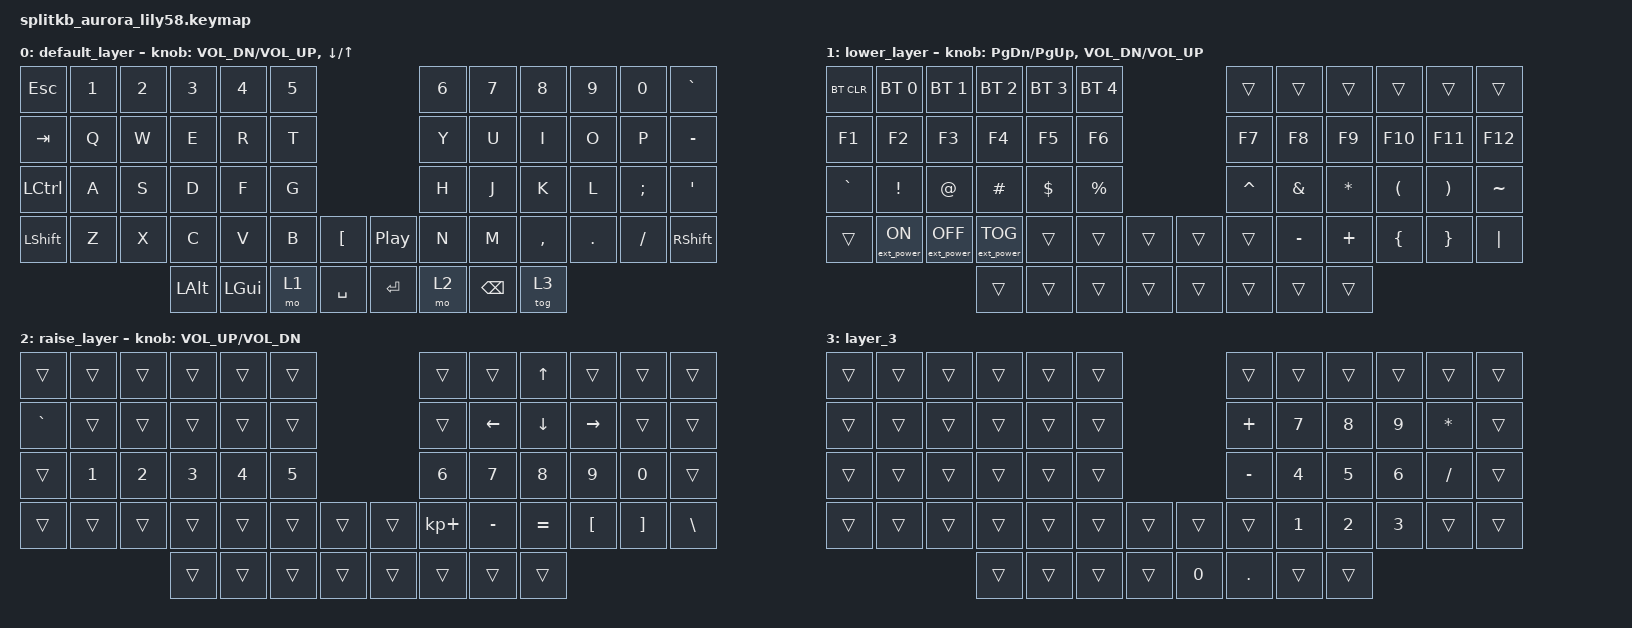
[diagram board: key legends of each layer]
/*
 * Copyright (c) 2022 The ZMK Contributors
 *
 * SPDX-License-Identifier: MIT
 */

#include <behaviors.dtsi>
#include <dt-bindings/zmk/bt.h>
#include <dt-bindings/zmk/ext_power.h>
#include <dt-bindings/zmk/keys.h>

/ {
    keymap {
        compatible = "zmk,keymap";

        default_layer {
            // ------------------------------------------------------------------------------------------------------------
            // |  ESC  |  1  |  2  |  3   |  4   |  5   |                   |  6   |  7    |  8    |  9   |   0   |   `   |
            // |  TAB  |  Q  |  W  |  E   |  R   |  T   |                   |  Y   |  U    |  I    |  O   |   P   |   -   |
            // |  CTRL |  A  |  S  |  D   |  F   |  G   |                   |  H   |  J    |  K    |  L   |   ;   |   '   |
            // | SHIFT |  Z  |  X  |  C   |  V   |  B   |   "["  |  |  "]"  |  N   |  M    |  ,    |  .   |   /   | SHIFT |
            //                     | ALT  | GUI  | LOWER|  SPACE |  | ENTER | RAISE| BSPC  | GUI   |

            bindings = <
  &kp ESC  &kp N1  &kp N2    &kp N3    &kp N4  &kp N5                               &kp N6    &kp N7     &kp N8   &kp N9    &kp N0  &kp GRAVE
  &kp TAB   &kp Q   &kp W     &kp E     &kp R   &kp T                                &kp Y     &kp U      &kp I    &kp O     &kp P  &kp MINUS
&kp LCTRL   &kp A   &kp S     &kp D     &kp F   &kp G                                &kp H     &kp J      &kp K    &kp L  &kp SEMI    &kp SQT
&kp LSHFT   &kp Z   &kp X     &kp C     &kp V   &kp B   &kp LBKT  &kp C_PLAY_PAUSE   &kp N     &kp M  &kp COMMA  &kp DOT  &kp FSLH  &kp RSHFT
                           &kp LALT  &kp LGUI   &mo 1  &kp SPACE           &kp RET   &mo 2  &kp BSPC     &tog 3
            >;

            sensor-bindings =
                <&inc_dec_kp C_VOL_DN C_VOL_UP>,
                <&inc_dec_kp DOWN UP_ARROW>;
        };

        lower_layer {
            // ------------------------------------------------------------------------------------------------------------
            // | BTCLR | BT1 | BT2 |  BT3 |  BT4 |  BT5 |                   |      |       |       |      |       |       |
            // |  F1   |  F2 |  F3 |  F4  |  F5  |  F6  |                   |  F7  |  F8   |  F9   |  F10 |  F11  |  F12  |
            // |   `   |  !  |  @  |  #   |  $   |  %   |                   |  ^   |  &    |  *    |  (   |   )   |   ~   |
            // |       |     |     |      |      |      |        |  |       |      |  _    |  +    |  {   |   }   |  "|"  |
            //                     |      |      |      |        |  |       |      |       |       |

            bindings = <
&bt BT_CLR      &bt BT_SEL 0       &bt BT_SEL 1       &bt BT_SEL 2  &bt BT_SEL 3  &bt BT_SEL 4                     &trans     &trans    &trans    &trans    &trans     &trans
    &kp F1            &kp F2             &kp F3             &kp F4        &kp F5        &kp F6                     &kp F7     &kp F8    &kp F9   &kp F10   &kp F11    &kp F12
 &kp GRAVE          &kp EXCL             &kp AT           &kp HASH    &kp DOLLAR     &kp PRCNT                  &kp CARET   &kp AMPS  &kp STAR  &kp LPAR  &kp RPAR  &kp TILDE
    &trans  &ext_power EP_ON  &ext_power EP_OFF  &ext_power EP_TOG        &trans        &trans  &trans  &trans     &trans  &kp MINUS  &kp PLUS  &kp LBRC  &kp RBRC   &kp PIPE
                                                            &trans        &trans        &trans  &trans  &trans     &trans     &trans    &trans
            >;

            sensor-bindings =
                <&inc_dec_kp PAGE_DOWN PAGE_UP>,
                <&inc_dec_kp C_VOL_DN C_VOL_UP>;
        };

        raise_layer {
            // ------------------------------------------------------------------------------------------------------------
            // |       |     |     |      |      |      |                   |      |       |       |      |       |       |
            // |   `   |  1  |  2  |  3   |  4   |  5   |                   |  6   |   7   |   8   |  9   |   0   |       |
            // |   F1  |  F2 |  F3 |  F4  |  F5  |  F6  |                   |      |   <-  |   v   |  ^   |  ->   |       |
            // |   F7  |  F8 |  F9 |  F10 |  F11 |  F12 |        |  |       |  +   |   -   |   =   |  [   |   ]   |   \   |
            //                     |      |      |      |        |  |       |      |       |       |

            bindings = <
   &trans  &trans  &trans  &trans  &trans  &trans                       &trans          &trans    &kp UP_ARROW           &trans    &trans    &trans
&kp GRAVE  &trans  &trans  &trans  &trans  &trans                       &trans  &kp LEFT_ARROW  &kp DOWN_ARROW  &kp RIGHT_ARROW    &trans    &trans
   &trans  &kp N1  &kp N2  &kp N3  &kp N4  &kp N5                       &kp N6          &kp N7          &kp N8           &kp N9    &kp N0    &trans
   &trans  &trans  &trans  &trans  &trans  &trans  &trans  &trans  &kp KP_PLUS       &kp MINUS       &kp EQUAL         &kp LBKT  &kp RBKT  &kp BSLH
                           &trans  &trans  &trans  &trans  &trans       &trans          &trans          &trans
            >;

            sensor-bindings = <&inc_dec_kp C_VOL_UP C_VOL_DN>;
        };

        layer_3 {
            bindings = <
&trans  &trans  &trans  &trans  &trans  &trans                      &trans  &trans  &trans  &trans        &trans  &trans
&trans  &trans  &trans  &trans  &trans  &trans                    &kp PLUS  &kp N7  &kp N8  &kp N9  &kp ASTERISK  &trans
&trans  &trans  &trans  &trans  &trans  &trans                   &kp MINUS  &kp N4  &kp N5  &kp N6     &kp SLASH  &trans
&trans  &trans  &trans  &trans  &trans  &trans  &trans  &trans      &trans  &kp N1  &kp N2  &kp N3        &trans  &trans
                        &trans  &trans  &trans  &trans  &kp N0  &kp PERIOD  &trans  &trans
            >;
        };
    };
};

&left_encoder {
    resolution = <1>;// Default is 4
};

&right_encoder {
    resolution = <1>;// Default is 4
};
